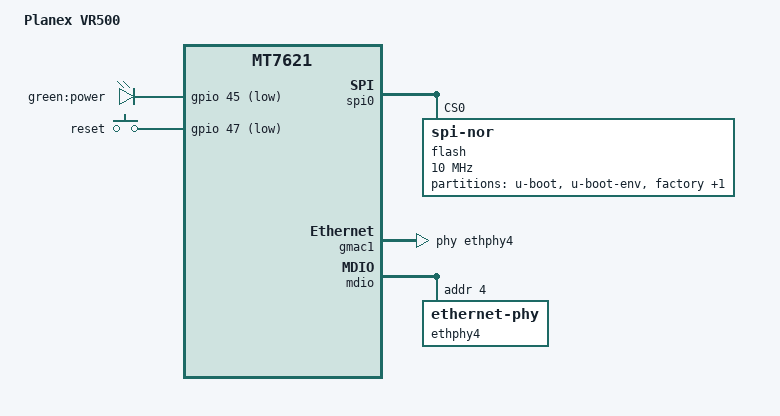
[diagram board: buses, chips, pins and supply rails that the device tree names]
#include "mt7621.dtsi"

#include <dt-bindings/gpio/gpio.h>
#include <dt-bindings/input/input.h>

/ {
	compatible = "planex,vr500", "mediatek,mt7621-soc";
	model = "Planex VR500";

	aliases {
		led-boot = &led_power;
		led-failsafe = &led_power;
		led-running = &led_power;
		led-upgrade = &led_power;
	};

	leds {
		compatible = "gpio-leds";

		led_power: power {
			label = "green:power";
			gpios = <&gpio 45 GPIO_ACTIVE_LOW>;
		};
	};

	keys {
		compatible = "gpio-keys";

		reset {
			label = "reset";
			gpios = <&gpio 47 GPIO_ACTIVE_LOW>;
			linux,code = <KEY_RESTART>;
		};
	};
};

&spi0 {
	status = "okay";

	flash@0 {
		compatible = "jedec,spi-nor";
		reg = <0>;
		spi-max-frequency = <10000000>;

		partitions {
			compatible = "fixed-partitions";
			#address-cells = <1>;
			#size-cells = <1>;

			partition@0 {
				label = "u-boot";
				reg = <0x0 0x30000>;
				read-only;
			};

			partition@30000 {
				label = "u-boot-env";
				reg = <0x30000 0x10000>;
				read-only;
			};

			factory: partition@40000 {
				label = "factory";
				reg = <0x40000 0x10000>;
				read-only;
			};

			partition@50000 {
				compatible = "denx,uimage";
				label = "firmware";
				reg = <0x50000 0x3fb0000>;
			};
		};
	};
};

&gmac0 {
	nvmem-cells = <&macaddr_factory_e000>;
	nvmem-cell-names = "mac-address";
};

&gmac1 {
	status = "okay";
	label = "wan";
	phy-handle = <&ethphy4>;

	nvmem-cells = <&macaddr_factory_e006>;
	nvmem-cell-names = "mac-address";
};

&mdio {
	ethphy4: ethernet-phy@4 {
		reg = <4>;
	};
};

&switch0 {
	ports {
		port@0 {
			status = "okay";
			label = "lan1";
		};

		port@1 {
			status = "okay";
			label = "lan2";
		};

		port@2 {
			status = "okay";
			label = "lan3";
		};

		port@3 {
			status = "okay";
			label = "lan4";
		};
	};
};

&state_default {
	gpio {
		groups = "sdhci";
		function = "gpio";
	};
};

&factory {
	compatible = "nvmem-cells";
	#address-cells = <1>;
	#size-cells = <1>;

	macaddr_factory_e000: macaddr@e000 {
		reg = <0xe000 0x6>;
	};

	macaddr_factory_e006: macaddr@e006 {
		reg = <0xe006 0x6>;
	};
};
